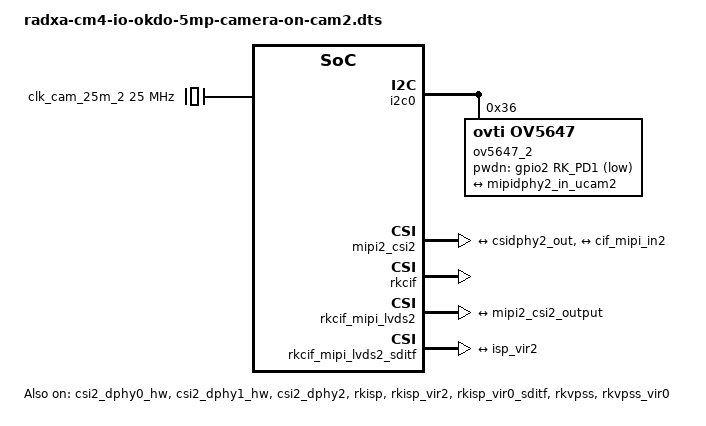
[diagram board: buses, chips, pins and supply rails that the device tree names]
/dts-v1/;
/plugin/;

#include <dt-bindings/gpio/gpio.h>
#include <dt-bindings/pinctrl/rockchip.h>

/ {
	metadata {
		title ="Enable OKdo 5MP Camera on CAM2";
		compatible = "radxa,cm4-io";
		category = "camera";
		exclusive = "GPIO2_D1", "csi2_dphy2", "i2c0";
		description = "Enable OKdo 5MP Camera on CAM2.";
	};
};

&{/} {
	clk_cam_25m_2: external-camera-clock-25m-2 {
		status = "okay";
		compatible = "fixed-clock";
		clock-frequency = <25000000>;
		clock-output-names = "clk_cam_25m_2";
		#clock-cells = <0>;
	};
};

&i2c0 {
	status = "okay";
	pinctrl-names = "default";
	pinctrl-0 = <&i2c0m1_xfer>;
	#address-cells = <1>;
	#size-cells = <0>;


	ov5647_2: ov5647-2@36 {
		status = "okay";
		compatible = "ovti,ov5647";
		reg = <0x36>;
		clocks = <&clk_cam_25m_2>;
		pwdn-gpios = <&gpio2 RK_PD1 GPIO_ACTIVE_LOW>;
		clock-names = "xvclk";
		rockchip,camera-module-index = <1>;
		rockchip,camera-module-facing = "back";
		rockchip,camera-module-name = "OKDO-5MP";
		rockchip,camera-module-lens-name = "default";

		port {
			ov5647_out2: endpoint {
				remote-endpoint = <&mipidphy2_in_ucam2>;
				data-lanes = <1 2>;
			};
		};
	};
};

&csi2_dphy0_hw {
	status = "okay";
};

&csi2_dphy1_hw {
	status = "okay";
};

&csi2_dphy2 {
	status = "okay";

	ports {
		#address-cells = <1>;
		#size-cells = <0>;

		port@0 {
			reg = <0>;
			#address-cells = <1>;
			#size-cells = <0>;

			mipidphy2_in_ucam2: endpoint@2 {
				reg = <2>;
				remote-endpoint = <&ov5647_out2>;
				data-lanes = <1 2>;
			};
		};

		port@1 {
			reg = <1>;
			#address-cells = <1>;
			#size-cells = <0>;

			csidphy2_out: endpoint@0 {
				reg = <0>;
				remote-endpoint = <&mipi2_csi2_input>;
			};
		};
	};
};

&mipi2_csi2 {
	status = "okay";

	ports {
		#address-cells = <1>;
		#size-cells = <0>;

		port@0 {
			reg = <0>;
			#address-cells = <1>;
			#size-cells = <0>;

			mipi2_csi2_input: endpoint@1 {
				reg = <1>;
				remote-endpoint = <&csidphy2_out>;
			};
		};

		port@1 {
			reg = <1>;
			#address-cells = <1>;
			#size-cells = <0>;

			mipi2_csi2_output: endpoint@0 {
				reg = <0>;
				remote-endpoint = <&cif_mipi_in2>;
			};
		};
	};
};

&rkcif {
	status = "okay";
};

&rkcif_mmu {
	status = "okay";
};

&rkcif_mipi_lvds2 {
	status = "okay";

	port {
		cif_mipi_in2: endpoint {
		    remote-endpoint = <&mipi2_csi2_output>;
		};
	};
};

&rkcif_mipi_lvds2_sditf {
	status = "okay";

	port {
		mipi_lvds2_sditf: endpoint {
			remote-endpoint = <&isp_vir2>;
		};
	};
};

&rkisp_mmu {
	status = "okay";
};

&rkisp {
	status = "okay";
};

&rkisp_vir2 {
	status = "okay";

	port {
		#address-cells = <1>;
		#size-cells = <0>;

		isp_vir2: endpoint@0 {
			reg = <0>;
			remote-endpoint = <&mipi_lvds2_sditf>;
		};
	};
};

&rkisp_vir0_sditf {
	status = "okay";
};

&rkvpss {
	status = "okay";
};

&rkvpss_mmu {
	status = "okay";
};

&rkvpss_vir0 {
	status = "okay";
};
